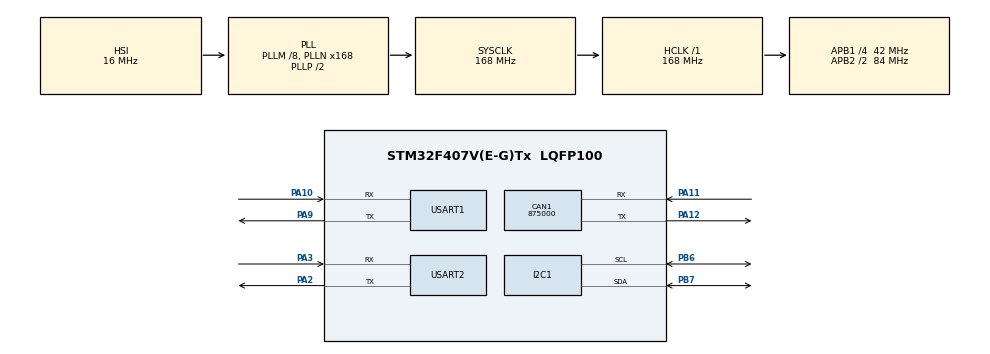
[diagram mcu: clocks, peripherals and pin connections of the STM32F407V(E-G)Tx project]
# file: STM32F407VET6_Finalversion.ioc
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CAN1.CalculateBaudRate=875000
CAN1.CalculateTimeBit=1142
CAN1.CalculateTimeQuantum=380.95238095238096
FREERTOS.Tasks01=defaultTask,24,128,StartDefaultTask,Default,NULL,Dynamic,NULL,NULL
Mcu.Family=STM32F4
Mcu.Name=STM32F407V(E-G)Tx
Mcu.Package=LQFP100
NVIC.CAN1_RX0_IRQn=true\:5\:0\:false\:false\:true\:true\:true\:true\:true
NVIC.PriorityGroup=NVIC_PRIORITYGROUP_4
NVIC.TIM1_UP_TIM10_IRQn=true\:15\:0\:false\:false\:true\:false\:false\:true\:true
NVIC.TimeBase=TIM1_UP_TIM10_IRQn
NVIC.TimeBaseIP=TIM1
NVIC.USART1_IRQn=true\:5\:0\:false\:false\:true\:true\:true\:true\:true
NVIC.USART2_IRQn=true\:5\:0\:false\:false\:true\:true\:true\:true\:true
PA10.Mode=Asynchronous
PA10.Signal=USART1_RX
PA11.Mode=CAN_Activate
PA11.Signal=CAN1_RX
PA12.Mode=CAN_Activate
PA12.Signal=CAN1_TX
PA13.Mode=Serial_Wire
PA13.Signal=SYS_JTMS-SWDIO
PA14.Mode=Serial_Wire
PA14.Signal=SYS_JTCK-SWCLK
PA2.Mode=Asynchronous
PA2.Signal=USART2_TX
PA3.Mode=Asynchronous
PA3.Signal=USART2_RX
PA9.Mode=Asynchronous
PA9.Signal=USART1_TX
PB6.Mode=I2C
PB6.Signal=I2C1_SCL
PB7.Mode=I2C
PB7.Signal=I2C1_SDA
PH0-OSC_IN.Mode=HSE-External-Oscillator
PH0-OSC_IN.Signal=RCC_OSC_IN
PH1-OSC_OUT.Mode=HSE-External-Oscillator
PH1-OSC_OUT.Signal=RCC_OSC_OUT
ProjectManager.HeapSize=0x800
ProjectManager.StackSize=0x800
ProjectManager.TargetToolchain=MDK-ARM V5.32
RCC.48MHZClocksFreq_Value=84000000
RCC.AHBFreq_Value=168000000
RCC.APB1CLKDivider=RCC_HCLK_DIV4
RCC.APB1Freq_Value=42000000
RCC.APB1TimFreq_Value=84000000
RCC.APB2CLKDivider=RCC_HCLK_DIV2
RCC.APB2Freq_Value=84000000
RCC.APB2TimFreq_Value=168000000
RCC.CortexFreq_Value=168000000
RCC.HCLKFreq_Value=168000000
RCC.HSE_VALUE=25000000
RCC.HSI_VALUE=16000000
RCC.LSE_VALUE=32768
RCC.PLLM=8
RCC.PLLN=168
RCC.SYSCLKFreq_VALUE=168000000
RCC.SYSCLKSource=RCC_SYSCLKSOURCE_PLLCLK
RCC.VCOOutputFreq_Value=336000000
STMicroelectronics.X-CUBE-AI.10.2.0.ActivationBufferSizeList=4040
STMicroelectronics.X-CUBE-AI.10.2.0.ActivationBuffers=pool0
STMicroelectronics.X-CUBE-AI.10.2.0.ActivationNames=pool0
STMicroelectronics.X-CUBE-AI.10.2.0.ActivationSizes=AI_NETWORK1_DATA_ACTIVATION_1_SIZE
STMicroelectronics.X-CUBE-AI.10.2.0.ApplicationCcDeviceJjApplication=ApplicationTemplate
STMicroelectronics.X-CUBE-AI.10.2.0.HeapSize=0x800
STMicroelectronics.X-CUBE-AI.10.2.0.InternalRamActivationBufferMaxSize=AI_NETWORK1_DATA_ACTIVATIONS_SIZE
STMicroelectronics.X-CUBE-AI.10.2.0.LatestDirectoryUsed-a60850cee7d466930fcf3f28e4e011856795140349f7524071ef273d7cc94949=C\:\\Users\\ZhuanZ\\Desktop\\ai_ota_Project\\trainmodel_demo
STMicroelectronics.X-CUBE-AI.10.2.0.MaximumNumberOfInputLayer=1
STMicroelectronics.X-CUBE-AI.10.2.0.MaximumNumberOfOutputLayer=1
STMicroelectronics.X-CUBE-AI.10.2.0.MaximumSizeOfInputLayer=1
STMicroelectronics.X-CUBE-AI.10.2.0.MaximumSizeOfOutputLayer=1
STMicroelectronics.X-CUBE-AI.10.2.0.ModelActualCompression-a60850cee7d466930fcf3f28e4e011856795140349f7524071ef273d7cc94949=0.0
STMicroelectronics.X-CUBE-AI.10.2.0.ModelCompression-a60850cee7d466930fcf3f28e4e011856795140349f7524071ef273d7cc94949=None
STMicroelectronics.X-CUBE-AI.10.2.0.ModelFlashOccupation-a60850cee7d466930fcf3f28e4e011856795140349f7524071ef273d7cc94949=23326
STMicroelectronics.X-CUBE-AI.10.2.0.ModelHashList=a60850cee7d466930fcf3f28e4e011856795140349f7524071ef273d7cc94949
STMicroelectronics.X-CUBE-AI.10.2.0.ModelKind-a60850cee7d466930fcf3f28e4e011856795140349f7524071ef273d7cc94949=TFLITE
STMicroelectronics.X-CUBE-AI.10.2.0.ModelMacc-a60850cee7d466930fcf3f28e4e011856795140349f7524071ef273d7cc94949=5727
STMicroelectronics.X-CUBE-AI.10.2.0.ModelName-a60850cee7d466930fcf3f28e4e011856795140349f7524071ef273d7cc94949=network1
STMicroelectronics.X-CUBE-AI.10.2.0.ModelNameList=network1
STMicroelectronics.X-CUBE-AI.10.2.0.ModelRamOccupation-a60850cee7d466930fcf3f28e4e011856795140349f7524071ef273d7cc94949=4040
STMicroelectronics.X-CUBE-AI.10.2.0.ModelStructureFile-a60850cee7d466930fcf3f28e4e011856795140349f7524071ef273d7cc94949=C\:\\Users\\ZhuanZ\\Desktop\\ai_ota_Project\\trainmodel_demo\\anomaly_detection_model.tflite
STMicroelectronics.X-CUBE-AI.10.2.0.ModelType-a60850cee7d466930fcf3f28e4e011856795140349f7524071ef273d7cc94949=STM32Cube.AI MCU runtime
STMicroelectronics.X-CUBE-AI.10.2.0.ReadyForCodeGeneration=true
STMicroelectronics.X-CUBE-AI.10.2.0.StackSize=0x800
STMicroelectronics.X-CUBE-AI.10.2.0.WorkingBufferStartAddrList=0xFFFFFFFF
STMicroelectronics.X-CUBE-AI.10.2.0.XAaCUBEAaAICcArtificialOoIntelligenceJjCore=true
STMicroelectronics.X-CUBE-AI.10.2.0.copyWeightToRam=false
STMicroelectronics.X-CUBE-AI.10.2.0.customLayerConfigEnabled=false
STMicroelectronics.X-CUBE-AI.10.2.0.noOnnxIoTranspose=false
STMicroelectronics.X-CUBE-AI.10.2.0.useInputAllocation=true
STMicroelectronics.X-CUBE-AI.10.2.0.useOutputAllocation=true
USART1.VirtualMode=VM_ASYNC
USART2.VirtualMode=VM_ASYNC
VP_CRC_VS_CRC.Mode=CRC_Activate
VP_FREERTOS_VS_CMSIS_V2.Mode=CMSIS_V2
VP_STMicroelectronics.X-CUBE-AI_VS_ArtificialOoIntelligenceJjXAaCUBEAaAI_10.2.0.Mode=ArtificialOoIntelligenceJjXAaCUBEAaAI
VP_STMicroelectronics.X-CUBE-AI_VS_DeviceJjApplication_10.2.0.Mode=DeviceJjApplication
VP_SYS_VS_tim1.Mode=TIM1
board=custom

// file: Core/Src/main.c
/* USER CODE BEGIN Header */
/**
  ******************************************************************************
  * @file           : main.c
  * @brief          : Main program body
  ******************************************************************************
  * @attention
  *
  * Copyright (c) 2025 STMicroelectronics.
  * All rights reserved.
  *
  * This software is licensed under terms that can be found in the LICENSE file
  * in the root directory of this software component.
  * If no LICENSE file comes with this software, it is provided AS-IS.
  *
  ******************************************************************************
  */
/* USER CODE END Header */
#include "main.h"
#include "cmsis_os.h"
#include "can.h"
#include "crc.h"
#include "i2c.h"
#include "usart.h"
#include "gpio.h"
#include "app_x-cube-ai.h"

/* USER CODE BEGIN Includes */
#include "stdio.h"
#include "ESP8266.h"
#include "OLED.h"
#include "OTA.h"
#include "BAIFA_OTA.h"
#include "string.h"
#include "core_cm4.h"

#include "CAN_Task.h"
#include "Sensor_reading.h"
/* USER CODE END Includes */

void SystemClock_Config(void);
void MX_FREERTOS_Init(void);

int main(void)
{

  /* MCU Configuration--------------------------------------------------------*/

  /* Reset of all peripherals, Initializes the Flash interface and the Systick. */
  HAL_Init();

  /* Configure the system clock */
  SystemClock_Config();

  /* USER CODE BEGIN SysInit */
	__set_FAULTMASK(1);
	SCB->VTOR = FLASH_BASE | APP1;
  __set_FAULTMASK(0);

  /* USER CODE END SysInit */

  /* Initialize all configured peripherals */
  MX_GPIO_Init();
  MX_CAN1_Init();
  MX_CRC_Init();
  MX_I2C1_Init();
  MX_USART1_UART_Init();
  MX_USART2_UART_Init();
  MX_X_CUBE_AI_Init();

  /* Init scheduler */
  osKernelInitialize();

  /* Call init function for freertos objects (in cmsis_os2.c) */
  MX_FREERTOS_Init();

  /* Start scheduler */
  osKernelStart();

  /* We should never get here as control is now taken by the scheduler */

  /* USER CODE BEGIN WHILE */
  /* 注意：原来这一段（osKernelStart() 之后）是永远执行不到的死代码 ——
   *   osKernelStart() 启动调度器后不会返回，所以 OLED / ESP8266 / 传感器任务 /
   *   CAN 任务从来没被初始化过。已整体挪到 freertos.c 的 StartDefaultTask：
   *   那里才有任务上下文，ESP_Init() 内部用到的 osDelay 才成立。
   *   CAN 帧格式与 ID 定义见 app/Include/can_protocol.h。 */
  /* USER CODE END WHILE */
}

void SystemClock_Config(void)
{
  RCC_OscInitTypeDef RCC_OscInitStruct = {0};
  RCC_ClkInitTypeDef RCC_ClkInitStruct = {0};

  /** Configure the main internal regulator output voltage
  */
  __HAL_RCC_PWR_CLK_ENABLE();
  __HAL_PWR_VOLTAGESCALING_CONFIG(PWR_REGULATOR_VOLTAGE_SCALE1);

  /** Initializes the RCC Oscillators according to the specified parameters
  * in the RCC_OscInitTypeDef structure.
  */
  RCC_OscInitStruct.OscillatorType = RCC_OSCILLATORTYPE_HSI;
  RCC_OscInitStruct.HSIState = RCC_HSI_ON;
  RCC_OscInitStruct.HSICalibrationValue = RCC_HSICALIBRATION_DEFAULT;
  RCC_OscInitStruct.PLL.PLLState = RCC_PLL_ON;
  RCC_OscInitStruct.PLL.PLLSource = RCC_PLLSOURCE_HSI;
  RCC_OscInitStruct.PLL.PLLM = 8;
  RCC_OscInitStruct.PLL.PLLN = 168;
  RCC_OscInitStruct.PLL.PLLP = RCC_PLLP_DIV2;
  RCC_OscInitStruct.PLL.PLLQ = 4;
  if (HAL_RCC_OscConfig(&RCC_OscInitStruct) != HAL_OK)
  {
    Error_Handler();
  }

  /** Initializes the CPU, AHB and APB buses clocks
  */
  RCC_ClkInitStruct.ClockType = RCC_CLOCKTYPE_HCLK|RCC_CLOCKTYPE_SYSCLK
                              |RCC_CLOCKTYPE_PCLK1|RCC_CLOCKTYPE_PCLK2;
  RCC_ClkInitStruct.SYSCLKSource = RCC_SYSCLKSOURCE_PLLCLK;
  RCC_ClkInitStruct.AHBCLKDivider = RCC_SYSCLK_DIV1;
  RCC_ClkInitStruct.APB1CLKDivider = RCC_HCLK_DIV4;
  RCC_ClkInitStruct.APB2CLKDivider = RCC_HCLK_DIV2;

  if (HAL_RCC_ClockConfig(&RCC_ClkInitStruct, FLASH_LATENCY_5) != HAL_OK)
  {
    Error_Handler();
  }
}

void HAL_TIM_PeriodElapsedCallback(TIM_HandleTypeDef *htim)
{
  if (htim->Instance == TIM1)
  {
    HAL_IncTick();
  }
}

void Error_Handler(void)
{
  __disable_irq();
  while (1)
  {
  }
}

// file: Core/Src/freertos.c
/* USER CODE BEGIN Header */
/**
  ******************************************************************************
  * File Name          : freertos.c
  * Description        : Code for freertos applications
  ******************************************************************************
  * @attention
  *
  * Copyright (c) 2025 STMicroelectronics.
  * All rights reserved.
  *
  * This software is licensed under terms that can be found in the LICENSE file
  * in the root directory of this software component.
  * If no LICENSE file comes with this software, it is provided AS-IS.
  *
  ******************************************************************************
  */
/* USER CODE END Header */

#include "FreeRTOS.h"
#include "task.h"
#include "main.h"
#include "cmsis_os.h"

/* USER CODE BEGIN Includes */
#include <stdio.h>
#include "OLED.h"
#include "ESP8266.h"
#include "OTA.h"
#include "BAIFA_OTA.h"
#include "ota_flag.h"
#include "CAN_Task.h"
#include "Sensor_reading.h"

/* USER CODE END Includes */

/* Definitions for defaultTask */
osThreadId_t defaultTaskHandle;
const osThreadAttr_t defaultTask_attributes = {
  .name = "defaultTask",
  /* 512*4 = 2048 字节：这个任务要跑 OLED/printf/OTA 轮询，512 字节不够 */
  .stack_size = 512 * 4,
  .priority = (osPriority_t) osPriorityNormal,
};

void StartDefaultTask(void *argument);

void MX_FREERTOS_Init(void); /* (MISRA C 2004 rule 8.1) */

void MX_FREERTOS_Init(void) {

  /* Create the thread(s) */
  /* creation of defaultTask */
  defaultTaskHandle = osThreadNew(StartDefaultTask, NULL, &defaultTask_attributes);

}

void StartDefaultTask(void *argument)
{
  static uint8_t s_confirmed = 0;
  extern volatile uint8_t g_baifa_ota_request;
  /* USER CODE BEGIN StartDefaultTask */
  /* 以下内容原来写在 main.c 的 osKernelStart() 之后 —— 那段是死代码（调度器启动后
   * 不会返回），所以节点2 的 OLED / ESP8266 / 传感器任务 / CAN 任务从来没跑起来过。
   * 现在搬到这里：这里是任务上下文，ESP_Init() 里用到的 osDelay 才成立。
   * 顺序上把传感器/CAN 任务放在 ESP_Init() 之前 —— 没插 ESP8266 时 CAN 照样上报。 */
  OLED_Init();

  char line1[16] = {0};
  sprintf(line1, "appled %s", MCU_VER);
  OLED_ShowString(1, 1, line1);

  Baifa_OTA_Dump_Flag();
  printf("[MAIN] node2 app ver=%s vtor=0x%08X slot=%c\r\n",
         MCU_VER, (unsigned)(*(volatile uint32_t *)0xE000ED08UL),
         (ota_flag_my_slot() == OTA_SLOT_B) ? 0x42 : 0x41);

  Sensor_reading_task_Init();
  can_task_Init();

  /* 初始化巴法云OTA模块 */
  Baifa_OTA_Init();
  ESP_Init();

  /* Infinite loop */
  for(;;)
  {
    /* 启动 15 秒后自确认（清掉 pending），未确认的固件下次复位自动回滚 */
    if (!s_confirmed && (HAL_GetTick() > 15000U)) {
      s_confirmed = 1;
      ota_flag_confirm();
    }

    /* 串口收到 ota 命令后执行一次升级检查 */
    if (g_baifa_ota_request) {
      int r;

      g_baifa_ota_request = 0;
      printf("[MAIN] OTA request, start...\n");
      OLED_Clear_Line(2);
      OLED_ShowString(2, 1, "OTA checking");

      r = Baifa_OTA_Start();

      if (r == BAIFA_OTA_OK) {
        printf("[MAIN] OTA staged, rebooting\n");
        OLED_Clear_Line(2);
        OLED_ShowString(2, 1, "OTA OK, reboot");
        osDelay(500);
        HAL_NVIC_SystemReset();
      } else {
        printf("[MAIN] OTA failed: %s\n", Baifa_OTA_Last_Error());
        OLED_Clear_Line(2);
        OLED_ShowString(2, 1, "OTA failed");
      }
    }

    osDelay(500);
  }
  /* USER CODE END StartDefaultTask */
}
